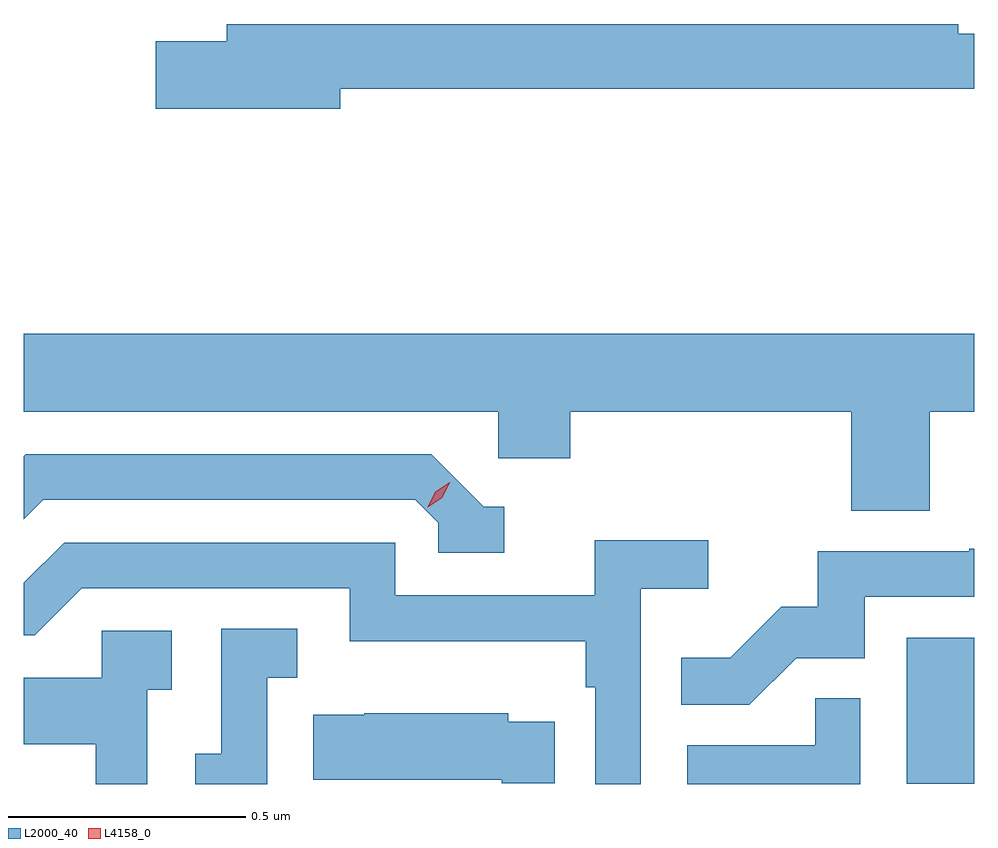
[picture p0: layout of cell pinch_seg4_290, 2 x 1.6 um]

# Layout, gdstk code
import gdstk
lib = gdstk.Library(unit=1e-6, precision=1e-09)
def R(c, l, rs):  # rectangles x0, y0, x1, y1
    for r in rs: c.add(gdstk.rectangle(r[:2], r[2:], *l))
def P(c, l, *ps):  # polygons
    for p in ps: c.add(gdstk.Polygon(p, *l))
L2000_40 = (2000, 40)
L4158_0 = (4158, 0)

pinch_seg4_290 = lib.new_cell('pinch_seg4_290')
R(pinch_seg4_290, L2000_40, [(918.164,806.694,918.306,807.001)])
P(pinch_seg4_290, L2000_40, [(916.972,808.156),(918.306,808.156),(918.306,808.272),(918.272,808.272),(918.272,808.292),(916.733,808.292),(916.733,808.256),(916.584,808.256),(916.584,808.114),(916.972,808.114)],
  [(918.212,807.476),(918.306,807.476),(918.306,807.64),(916.306,807.64),(916.306,807.476),(917.304,807.476),(917.304,807.378),(917.456,807.378),(917.456,807.476),(918.047,807.476),(918.047,807.268),(918.212,807.268)],
  [(917.317,807.276),(917.274,807.276),(917.163,807.387),(916.31,807.387),(916.306,807.383),(916.306,807.25),(916.347,807.291),(917.13,807.291),(917.178,807.243),(917.178,807.18),(917.317,807.18)],
  [(917.604,807.104),(917.746,807.104),(917.746,807.206),(917.507,807.206),(917.507,807.09),(917.088,807.09),(917.088,807.201),(916.391,807.201),(916.306,807.116),(916.306,807.006),(916.329,807.006),(916.428,807.105),(916.992,807.105),(916.992,806.993),(917.488,806.993),(917.488,806.897),(917.508,806.897),(917.508,806.693),(917.604,806.693)],
  [(917.931,806.958),(918.075,806.958),(918.075,807.087),(918.306,807.087),(918.306,807.188),(918.295,807.188),(918.295,807.183),(917.977,807.183),(917.977,807.066),(917.9,807.066),(917.793,806.959),(917.689,806.959),(917.689,806.86),(917.833,806.86)],
  [(916.818,806.917),(916.882,806.917),(916.882,807.02),(916.722,807.02),(916.722,806.757),(916.667,806.757),(916.667,806.693),(916.818,806.693)],
  [(916.566,806.891),(916.618,806.891),(916.618,807.015),(916.47,807.015),(916.47,806.917),(916.306,806.917),(916.306,806.777),(916.458,806.777),(916.458,806.693),(916.566,806.693)],
  [(918.066,806.873),(917.971,806.873),(917.971,806.775),(917.702,806.775),(917.702,806.693),(918.066,806.693)],
  [(917.423,806.824),(917.325,806.824),(917.325,806.842),(917.023,806.842),(917.023,806.839),(916.915,806.839),(916.915,806.702),(917.312,806.702),(917.312,806.695),(917.423,806.695)])
P(pinch_seg4_290, L4158_0, [(917.156,807.275),(917.156,807.276),(917.172,807.308),(917.202,807.328),(917.202,807.328),(917.202,807.327),(917.187,807.295),(917.156,807.275)])

lib.write_gds('pinch_seg4_290.gds')
